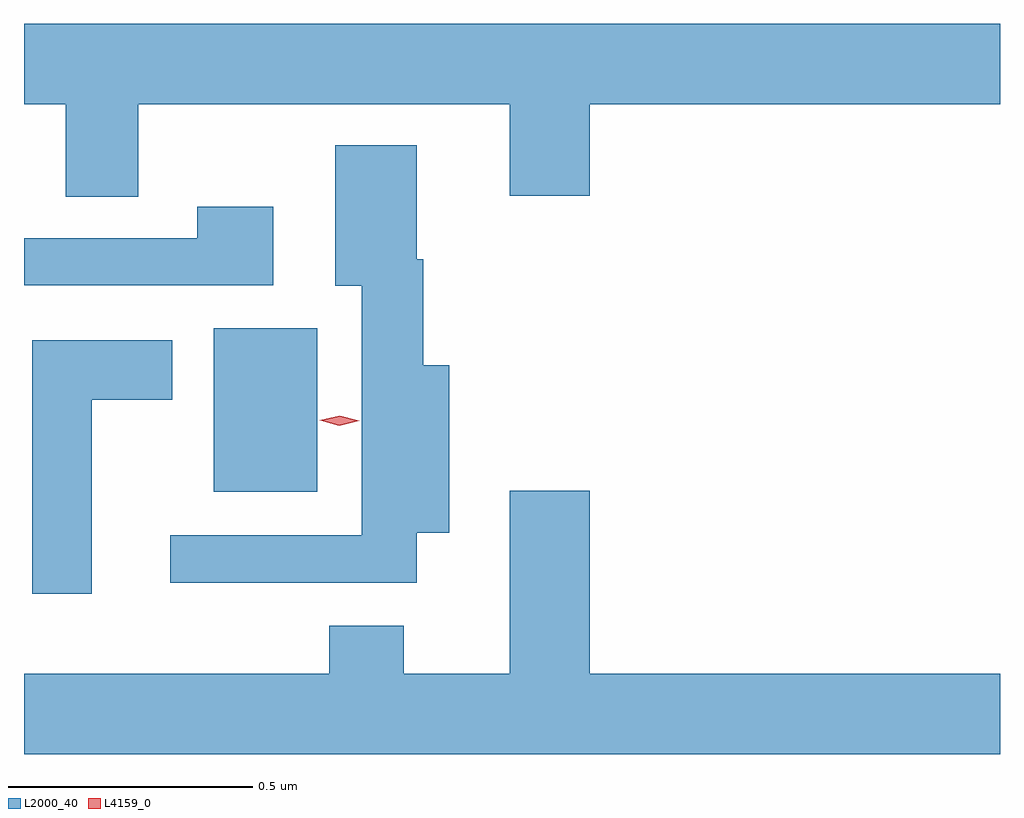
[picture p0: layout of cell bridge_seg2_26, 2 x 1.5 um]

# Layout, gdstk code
import gdstk
lib = gdstk.Library(unit=1e-6, precision=1e-09)
def R(c, l, rs):  # rectangles x0, y0, x1, y1
    for r in rs: c.add(gdstk.rectangle(r[:2], r[2:], *l))
def P(c, l, *ps):  # polygons
    for p in ps: c.add(gdstk.Polygon(p, *l))
L2000_40 = (2000, 40)
L4159_0 = (4159, 0)

bridge_seg2_26 = lib.new_cell('bridge_seg2_26')
R(bridge_seg2_26, L2000_40, [(667.898,640.181,668.11,640.516)])
P(bridge_seg2_26, L2000_40, [(667.743,640.976),(668.504,640.976),(668.504,640.788),(668.668,640.788),(668.668,640.976),(669.509,640.976),(669.509,641.14),(667.509,641.14),(667.509,640.976),(667.595,640.976),(667.595,640.786),(667.743,640.786)],
  [(668.314,640.097),(668.38,640.097),(668.38,640.441),(668.327,640.441),(668.327,640.658),(668.314,640.658),(668.314,640.891),(668.147,640.891),(668.147,640.604),(668.201,640.604),(668.201,640.092),(667.809,640.092),(667.809,639.995),(668.314,639.995)],
  [(668.02,640.765),(667.864,640.765),(667.864,640.701),(667.509,640.701),(667.509,640.605),(668.02,640.605)],
  [(667.648,640.37),(667.813,640.37),(667.813,640.492),(667.526,640.492),(667.526,639.972),(667.648,639.972)],
  [(669.509,639.808),(668.668,639.808),(668.668,640.183),(668.504,640.183),(668.504,639.808),(668.287,639.808),(668.287,639.907),(668.135,639.907),(668.135,639.808),(667.509,639.808),(667.509,639.644),(669.509,639.644)])
P(bridge_seg2_26, L4159_0, [(668.155,640.317),(668.115,640.328),(668.115,640.328),(668.115,640.328),(668.156,640.337),(668.196,640.327),(668.196,640.327),(668.196,640.327)])

lib.write_gds('bridge_seg2_26.gds')
